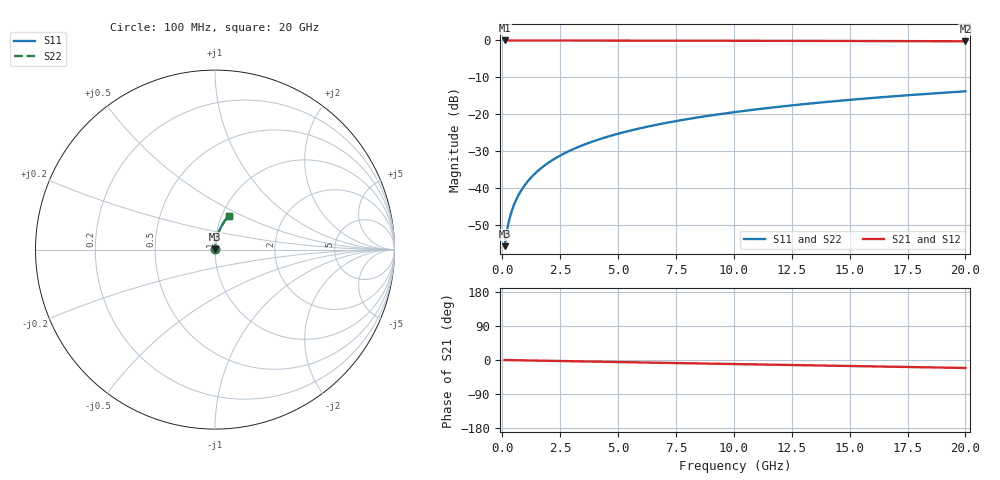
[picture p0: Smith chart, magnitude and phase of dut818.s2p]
! Touchstone file exported from HFSS 2026.1.0
!  File:  C:/ffzhzh/LocalFiles/Ansys_Project_Files/temp_train_BSMRDL_818_1783169993_22436.aedt
!  Generated:  09:01:04 PM Jul  4, 2026
!  Design:  BSMRDL
!  Project:  temp_train_BSMRDL_818_1783169993_22436
! Variables:
!  h_bsmrdl = 4.1um
!  h_ox = 20um
!  h_rdl = 5um
!  h_sub = 80um
!  h_tmrdl = 5um
!  h_tsv = 80um
!  h_via = 3um
!  l_bsmrdl = 269.98um
!  l_sub = 669.98um
!  l_tmrdl = 200um
!  m_sub = 200um
!  pitch = 53.47um
!  r_tsv = 6um
!  s_tmrdl = 10um
!  w_bsmrdl = 25.49um
!  w_sub = 500um
!  w_tmrdl = 12um
!  x_tsv_center1 = 206um
!  x_tsv_center2 = 501.47um
!  x_tsv_center3 = 713.47um
!  x_tsv_center4 = 1008.94um
!  x_tsv_center5 = 1220.94um
!  x_tsv_center6 = 1516.41um
# GHz S MA R 50.000000
! Terminal data exported
! Port[1] = BSM_RDL1_1_T1
! Port[2] = BSM_RDL1_1_T2
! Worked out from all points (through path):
!   200 points, 100 MHz to 20 GHz, reference 50 ohm
!   highest |S21| = -0.01 dB at 100 MHz (marker M1); lowest = -0.2 dB at 20 GHz (marker M2)
!   group delay of S21, straight-line fit = 2.91 ps
!   lowest |S11| = -55.7 dB at 100 MHz (marker M3), VSWR 1.00, Z = 50.1 + j0.121 ohm
!   |S11| at or under -10 dB: start of sweep to end of sweep
!   |S22| runs from -55.7 to -13.8 dB; largest |S21 - S12| = 2.8e-15
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0.1  0.00165 47.1  0.9989 -0.1  0.9989 -0.1  0.00165 47.1
! Gamma 0 0 0 0
! Port Impedance 50 0 50 0
0.2  0.002667 63.5  0.9988 -0.2  0.9988 -0.2  0.002667 63.5
0.3  0.003752 70.2  0.9987 -0.3  0.9987 -0.3  0.003753 70.2
0.4  0.00484 73.8  0.9987 -0.4  0.9987 -0.4  0.004842 73.9
0.5  0.005925 76.2  0.9986 -0.6  0.9986 -0.6  0.005927 76.2
0.7  0.008091 79.0  0.9986 -0.8  0.9986 -0.8  0.008094 79.0
0.8  0.009176 80.0  0.9986 -0.9  0.9986 -0.9  0.00918 80.0
1  0.01135 81.3  0.9985 -1.1  0.9985 -1.1  0.01136 81.3
1.2  0.01353 82.2  0.9984 -1.3  0.9984 -1.3  0.01354 82.2
1.4  0.01572 82.7  0.9984 -1.5  0.9984 -1.5  0.01572 82.7
1.7  0.019 83.2  0.9983 -1.9  0.9983 -1.9  0.019 83.2
2  0.02228 83.5  0.9981 -2.2  0.9981 -2.2  0.02228 83.5
2.7  0.02992 83.5  0.9978 -2.9  0.9978 -2.9  0.02992 83.5
3.5  0.03861 83.2  0.9972 -3.8  0.9972 -3.8  0.03861 83.1
4.2  0.04616 82.6  0.9967 -4.6  0.9967 -4.6  0.04616 82.6
5  0.05472 82.0  0.996 -5.4  0.996 -5.4  0.05472 82.0
6.8  0.07376 80.3  0.9942 -7.3  0.9942 -7.3  0.07376 80.3
8.3  0.08941 78.9  0.9926 -8.9  0.9926 -8.9  0.08941 78.9
10.1  0.1079 77.2  0.9903 -10.8  0.9903 -10.8  0.1079 77.2
13.4  0.1413 73.9  0.9855 -14.2  0.9855 -14.2  0.1413 73.9
16.7  0.1736 70.7  0.9799 -17.6  0.9799 -17.6  0.1736 70.7
20  0.2049 67.5  0.9734 -21.0  0.9734 -21.0  0.2049 67.5
